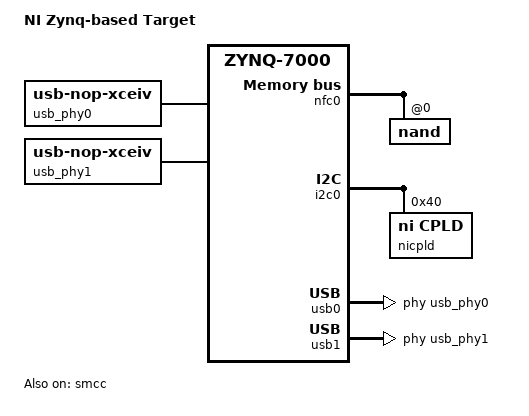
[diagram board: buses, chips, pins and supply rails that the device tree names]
/include/ "zynq-7000.dtsi"

/ {
	model = "NI Zynq-based Target";
	compatible = "ni,zynq", "xlnx,zynq-7000";

	/* Populated by the bootloader */
	memory@0 {
		device_type = "memory";
		reg = <0 0>;
	};
	chosen { };

	usb_phy0: phy0 {
		compatible = "usb-nop-xceiv";
		#phy-cells = <0>;
	};

	usb_phy1: phy1 {
		compatible = "usb-nop-xceiv";
		#phy-cells = <0>;
	};

	amba: axi {
		ni_uart0: serial@80000000 {
			device_type = "serial";
			compatible = "ni16550-fifo128", "ns16550a";
			status = "disabled";
			reg = <0x80000000 0x8>;
			interrupts = <0 30 4>;
			clock-frequency = <58824000>;
			/* Populated by the bootloader */
			/* current-speed = <0>; */
		};

		ni_uart1: serial@80000010 {
			device_type = "serial";
			compatible = "ni16550-fifo128", "ns16550a";
			status = "disabled";
			reg = <0x80000010 0x8>;
			interrupts = <0 31 4>;
			clock-frequency = <58824000>;
		};

		ni_uart2: serial@80000020 {
			device_type = "serial";
			compatible = "ni16550-fifo128", "ns16550a";
			status = "disabled";
			reg = <0x80000020 0x8>;
			interrupts = <0 32 4>;
			clock-frequency = <58824000>;
		};

		ni_uart3: serial@80000030 {
			device_type = "serial";
			compatible = "ni16550-fifo128", "ns16550a";
			status = "disabled";
			reg = <0x80000030 0x8>;
			interrupts = <0 33 0>;
			clock-frequency = <58824000>;
		};

		ni_uart4: serial@80000040 {
			device_type = "serial";
			compatible = "ni16550-fifo128", "ns16550a";
			status = "disabled";
			reg = <0x80000040 0x8>;
			interrupts = <0 34 0>;
			clock-frequency = <58824000>;
		};

		ni_uart5: serial@80000050 {
			device_type = "serial";
			compatible = "ni16550-fifo128", "ns16550a";
			status = "disabled";
			reg = <0x80000050 0x8>;
			interrupts = <0 35 0>;
			clock-frequency = <58824000>;
		};

		ni_uart6: serial@80000060 {
			device_type = "serial";
			compatible = "ni16550-fifo128", "ns16550a";
			status = "disabled";
			reg = <0x80000060 0x8>;
			interrupts = <0 36 0>;
			clock-frequency = <58824000>;
		};

		ni_uart7: serial@80000070 {
			device_type = "serial";
			compatible = "ni16550-fifo128", "ns16550a";
			status = "disabled";
			reg = <0x80000070 0x8>;
			interrupts = <0 52 0>;
			clock-frequency = <58824000>;
		};

		ni_uart8: serial@80000080 {
			device_type = "serial";
			compatible = "ni16550-fifo128", "ns16550a";
			status = "disabled";
			reg = <0x80000080 0x8>;
			interrupts = <0 53 0>;
			clock-frequency = <58824000>;
		};

		i2c2: i2c@81000000 {
			compatible = "xlnx,xps-iic-2.00.a";
			status = "disabled";
			reg = <0x81000000 0x1000>;
			interrupts = <0 33 4>;
			bus-id = <2>;
			#address-cells = <1>;
			#size-cells = <0>;
		};
	};

};

&smcc {
	status = "okay";
};

&nfc0 {
	status = "okay";

	nand@0 {
		reg = <0>;
	};
};

&i2c0 {
	nicpld@40 {
		compatible = "ni,cpld";
		reg = <0x40>;
	};

	ds3231_rtc@68 {
		compatible = "ds3232";
		status = "disabled";
		reg = <0x68>;
	};
};

&usb0 {
	usb-phy = <&usb_phy0>;
};

&usb1 {
	usb-phy = <&usb_phy1>;
};

&L2 {
	prefetch-data = <1>;
	prefetch-instr = <1>;
	arm,dynamic-clock-gating = <0>;
	arm,standby-mode = <0>;
};
